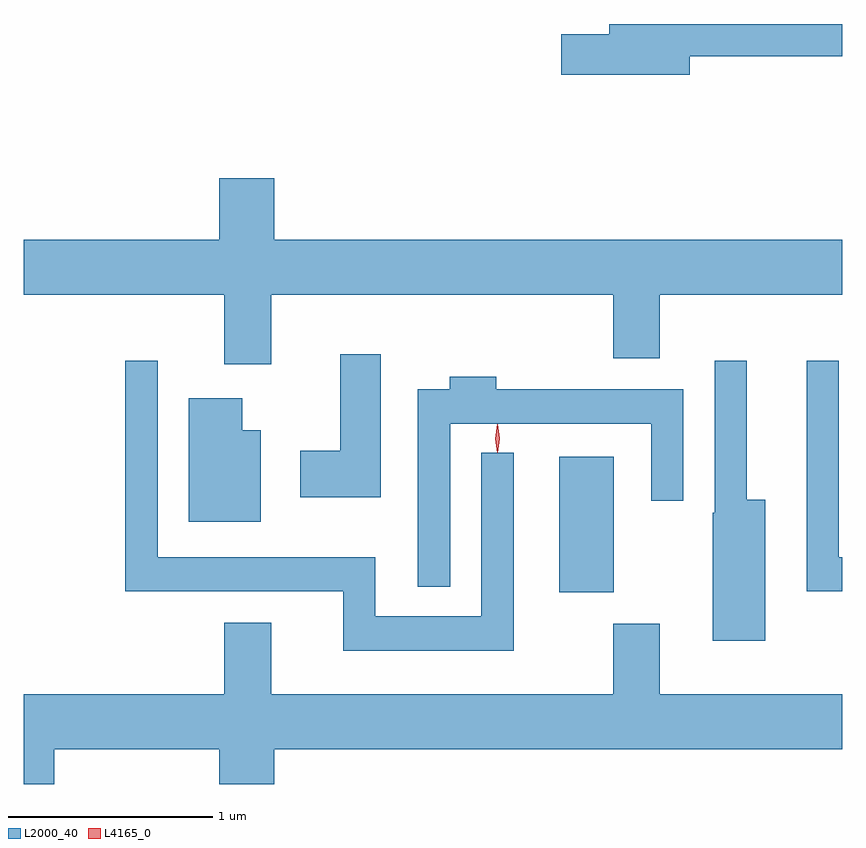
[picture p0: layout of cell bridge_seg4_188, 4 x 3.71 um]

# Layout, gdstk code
import gdstk
lib = gdstk.Library(unit=1e-6, precision=1e-09)
def R(c, l, rs):  # rectangles x0, y0, x1, y1
    for r in rs: c.add(gdstk.rectangle(r[:2], r[2:], *l))
def P(c, l, *ps):  # polygons
    for p in ps: c.add(gdstk.Polygon(p, *l))
L2000_40 = (2000, 40)
L4165_0 = (4165, 0)

bridge_seg4_188 = lib.new_cell('bridge_seg4_188')
R(bridge_seg4_188, L2000_40, [(1055.896,1306.601,1056.164,1307.264)])
P(bridge_seg4_188, L2000_40, [(1056.534,1309.221),(1057.28,1309.221),(1057.28,1309.379),(1056.141,1309.379),(1056.141,1309.329),(1055.906,1309.329),(1055.906,1309.131),(1056.534,1309.131)],
  [(1054.489,1308.056),(1056.161,1308.056),(1056.161,1307.746),(1056.389,1307.746),(1056.389,1308.056),(1057.28,1308.056),(1057.28,1308.324),(1054.504,1308.324),(1054.504,1308.624),(1054.236,1308.624),(1054.236,1308.324),(1053.28,1308.324),(1053.28,1308.056),(1054.261,1308.056),(1054.261,1307.716),(1054.489,1307.716)],
  [(1055.024,1307.764),(1054.826,1307.764),(1054.826,1307.294),(1054.631,1307.294),(1054.631,1307.066),(1055.024,1307.066)],
  [(1056.904,1307.054),(1056.814,1307.054),(1056.814,1307.733),(1056.656,1307.733),(1056.656,1306.99),(1056.646,1306.99),(1056.646,1306.366),(1056.904,1306.366)],
  [(1055.674,1307.283),(1055.516,1307.283),(1055.516,1306.484),(1054.999,1306.484),(1054.999,1306.774),(1053.934,1306.774),(1053.934,1307.733),(1053.776,1307.733),(1053.776,1306.606),(1054.841,1306.606),(1054.841,1306.316),(1055.674,1306.316)],
  [(1057.28,1306.774),(1057.264,1306.774),(1057.264,1307.733),(1057.106,1307.733),(1057.106,1306.606),(1057.28,1306.606)],
  [(1055.364,1307.426),(1056.346,1307.426),(1056.346,1307.048),(1056.504,1307.048),(1056.504,1307.594),(1055.589,1307.594),(1055.589,1307.654),(1055.361,1307.654),(1055.361,1307.594),(1055.206,1307.594),(1055.206,1306.628),(1055.364,1306.628)],
  [(1054.439,1307.394),(1054.349,1307.394),(1054.349,1307.549),(1054.086,1307.549),(1054.086,1306.946),(1054.439,1306.946)],
  [(1053.429,1305.836),(1054.236,1305.836),(1054.236,1305.665),(1054.504,1305.665),(1054.504,1305.836),(1057.28,1305.836),(1057.28,1306.104),(1056.389,1306.104),(1056.389,1306.449),(1056.161,1306.449),(1056.161,1306.104),(1054.489,1306.104),(1054.489,1306.454),(1054.261,1306.454),(1054.261,1306.104),(1053.28,1306.104),(1053.28,1305.665),(1053.429,1305.665)])
P(bridge_seg4_188, L4165_0, [(1055.596,1307.287),(1055.596,1307.288),(1055.586,1307.354),(1055.596,1307.42),(1055.596,1307.421),(1055.597,1307.42),(1055.606,1307.354),(1055.597,1307.288)],
  [(1055.595,1307.284),(1055.595,1307.284),(1055.585,1307.353),(1055.595,1307.423),(1055.595,1307.423),(1055.596,1307.423),(1055.605,1307.353),(1055.596,1307.284)])

lib.write_gds('bridge_seg4_188.gds')
